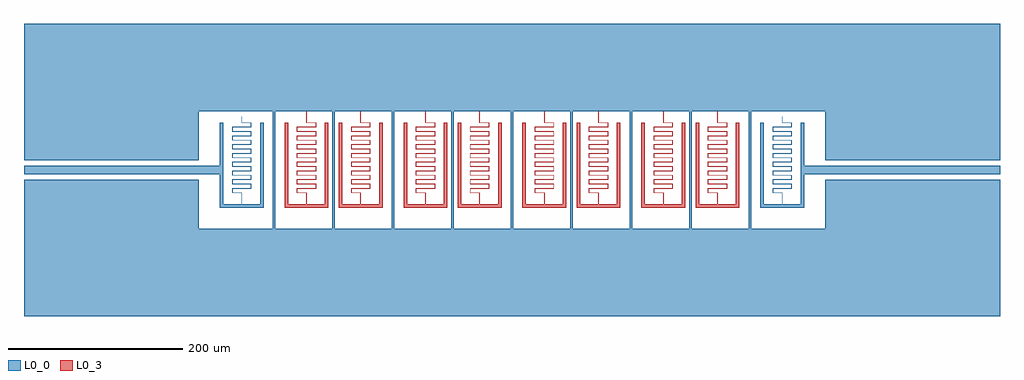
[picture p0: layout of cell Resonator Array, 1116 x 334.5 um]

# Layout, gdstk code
import gdstk
lib = gdstk.Library(unit=1e-6, precision=1e-09)
def P(c, l, *ps):  # polygons
    for p in ps: c.add(gdstk.Polygon(p, *l))
L0_0 = (0, 0)
L0_3 = (0, 3)

resonator_array = lib.new_cell('Resonator Array')
P(resonator_array, L0_0, [(793,32.25),(593,32.25),(593,-24),(508.5,-24),(508.5,110.5),(593,110.5),(593,54.25),(793,54.25),(793,210.5),(-323,210.5),(-323,54.25),(-123,54.25),(-123,110.5),(-38.5,110.5),(-38.5,-24),(-35.5,-24),(-35.5,110.5),(29.5,110.5),(29.5,-24),(32.5,-24),(32.5,110.5),(97.5,110.5),(97.5,-24),(100.5,-24),(100.5,110.5),(165.5,110.5),(165.5,-24),(168.5,-24),(168.5,110.5),(233.5,110.5),(233.5,-24),(236.5,-24),(236.5,110.5),(301.5,110.5),(301.5,-24),(304.5,-24),(304.5,110.5),(369.5,110.5),(369.5,-24),(372.5,-24),(372.5,110.5),(437.5,110.5),(437.5,-24),(440.5,-24),(440.5,110.5),(505.5,110.5),(505.5,-24),(440.5,-24),(437.5,-24),(372.5,-24),(369.5,-24),(304.5,-24),(301.5,-24),(236.5,-24),(233.5,-24),(168.5,-24),(165.5,-24),(100.5,-24),(97.5,-24),(32.5,-24),(29.5,-24),(-35.5,-24),(-38.5,-24),(-123,-24),(-123,32.25),(-323,32.25),(-323,-124),(793,-124)],
  [(-49,97.5),(-53,97.5),(-53,4),(-73.75,4),(-73.75,17.5),(-84.5,17.5),(-84.5,22),(-63,22),(-63,27.5),(-84.5,27.5),(-84.5,32),(-63,32),(-63,37.5),(-84.5,37.5),(-84.5,42),(-63,42),(-63,47.5),(-84.5,47.5),(-84.5,52),(-63,52),(-63,57.5),(-84.5,57.5),(-84.5,62),(-63,62),(-63,67.5),(-84.5,67.5),(-84.5,72),(-63,72),(-63,77.5),(-84.5,77.5),(-84.5,82),(-63,82),(-63,87.5),(-84.5,87.5),(-84.5,92),(-63,92),(-63,97.5),(-73.75,97.5),(-73.75,103.875),(-74.25,103.875),(-74.25,97),(-63.5,97),(-63.5,92.5),(-85,92.5),(-85,87),(-63.5,87),(-63.5,82.5),(-85,82.5),(-85,77),(-63.5,77),(-63.5,72.5),(-85,72.5),(-85,67),(-63.5,67),(-63.5,62.5),(-85,62.5),(-85,57),(-63.5,57),(-63.5,52.5),(-85,52.5),(-85,47),(-63.5,47),(-63.5,42.5),(-85,42.5),(-85,37),(-63.5,37),(-63.5,32.5),(-85,32.5),(-85,27),(-63.5,27),(-63.5,22.5),(-85,22.5),(-85,17),(-74.25,17),(-74.25,4),(-95,4),(-95,97.5),(-99,97.5),(-99,48.25),(-323,48.25),(-323,38.25),(-99,38.25),(-99,0),(-49,0)],
  [(569,38.25),(793,38.25),(793,48.25),(569,48.25),(569,97.5),(565,97.5),(565,4),(544.25,4),(544.25,17.5),(533.5,17.5),(533.5,22),(555,22),(555,27.5),(533.5,27.5),(533.5,32),(555,32),(555,37.5),(533.5,37.5),(533.5,42),(555,42),(555,47.5),(533.5,47.5),(533.5,52),(555,52),(555,57.5),(533.5,57.5),(533.5,62),(555,62),(555,67.5),(533.5,67.5),(533.5,72),(555,72),(555,77.5),(533.5,77.5),(533.5,82),(555,82),(555,87.5),(533.5,87.5),(533.5,92),(555,92),(555,97.5),(544.25,97.5),(544.25,103.875),(543.75,103.875),(543.75,97),(554.5,97),(554.5,92.5),(533,92.5),(533,87),(554.5,87),(554.5,82.5),(533,82.5),(533,77),(554.5,77),(554.5,72.5),(533,72.5),(533,67),(554.5,67),(554.5,62.5),(533,62.5),(533,57),(554.5,57),(554.5,52.5),(533,52.5),(533,47),(554.5,47),(554.5,42.5),(533,42.5),(533,37),(554.5,37),(554.5,32.5),(533,32.5),(533,27),(554.5,27),(554.5,22.5),(533,22.5),(533,17),(543.75,17),(543.75,4),(523,4),(523,97.5),(519,97.5),(519,0),(569,0)])
P(resonator_array, L0_3, [(-21,97.5),(-25,97.5),(-25,0),(25,0),(25,97.5),(21,97.5),(21,4),(-21,4)],
  [(-0.25,4),(0.25,4),(0.25,17.5),(-10.5,17.5),(-10.5,22),(0,22),(11,22),(11,27.5),(0,27.5),(-10.5,27.5),(-10.5,32),(0,32),(11,32),(11,37.5),(0,37.5),(-10.5,37.5),(-10.5,42),(0,42),(11,42),(11,47.5),(0,47.5),(-10.5,47.5),(-10.5,52),(0,52),(11,52),(11,57.5),(0,57.5),(-10.5,57.5),(-10.5,62),(0,62),(11,62),(11,67.5),(0,67.5),(-10.5,67.5),(-10.5,72),(0,72),(11,72),(11,77.5),(0,77.5),(-10.5,77.5),(-10.5,82),(0,82),(11,82),(11,87.5),(0,87.5),(-10.5,87.5),(-10.5,92),(0,92),(11,92),(11,97.5),(0.25,97.5),(0.25,110.5),(-0.25,110.5),(-0.25,97),(10.5,97),(10.5,92.5),(0,92.5),(-11,92.5),(-11,87),(0,87),(10.5,87),(10.5,82.5),(0,82.5),(-11,82.5),(-11,77),(0,77),(10.5,77),(10.5,72.5),(0,72.5),(-11,72.5),(-11,67),(0,67),(10.5,67),(10.5,62.5),(0,62.5),(-11,62.5),(-11,57),(0,57),(10.5,57),(10.5,52.5),(0,52.5),(-11,52.5),(-11,47),(0,47),(10.5,47),(10.5,42.5),(0,42.5),(-11,42.5),(-11,37),(0,37),(10.5,37),(10.5,32.5),(0,32.5),(-11,32.5),(-11,27),(0,27),(10.5,27),(10.5,22.5),(0,22.5),(-11,22.5),(-11,17),(-0.25,17)],
  [(41,97.5),(37,97.5),(37,0),(87,0),(87,97.5),(83,97.5),(83,4),(41,4)],
  [(61.75,4),(62.25,4),(62.25,17.5),(51.5,17.5),(51.5,22),(62,22),(73,22),(73,27.5),(62,27.5),(51.5,27.5),(51.5,32),(62,32),(73,32),(73,37.5),(62,37.5),(51.5,37.5),(51.5,42),(62,42),(73,42),(73,47.5),(62,47.5),(51.5,47.5),(51.5,52),(62,52),(73,52),(73,57.5),(62,57.5),(51.5,57.5),(51.5,62),(62,62),(73,62),(73,67.5),(62,67.5),(51.5,67.5),(51.5,72),(62,72),(73,72),(73,77.5),(62,77.5),(51.5,77.5),(51.5,82),(62,82),(73,82),(73,87.5),(62,87.5),(51.5,87.5),(51.5,92),(62,92),(73,92),(73,97.5),(62.25,97.5),(62.25,110.5),(61.75,110.5),(61.75,97),(72.5,97),(72.5,92.5),(62,92.5),(51,92.5),(51,87),(62,87),(72.5,87),(72.5,82.5),(62,82.5),(51,82.5),(51,77),(62,77),(72.5,77),(72.5,72.5),(62,72.5),(51,72.5),(51,67),(62,67),(72.5,67),(72.5,62.5),(62,62.5),(51,62.5),(51,57),(62,57),(72.5,57),(72.5,52.5),(62,52.5),(51,52.5),(51,47),(62,47),(72.5,47),(72.5,42.5),(62,42.5),(51,42.5),(51,37),(62,37),(72.5,37),(72.5,32.5),(62,32.5),(51,32.5),(51,27),(62,27),(72.5,27),(72.5,22.5),(62,22.5),(51,22.5),(51,17),(61.75,17)],
  [(115,97.5),(111,97.5),(111,0),(161,0),(161,97.5),(157,97.5),(157,4),(115,4)],
  [(135.75,4),(136.25,4),(136.25,17.5),(125.5,17.5),(125.5,22),(136,22),(147,22),(147,27.5),(136,27.5),(125.5,27.5),(125.5,32),(136,32),(147,32),(147,37.5),(136,37.5),(125.5,37.5),(125.5,42),(136,42),(147,42),(147,47.5),(136,47.5),(125.5,47.5),(125.5,52),(136,52),(147,52),(147,57.5),(136,57.5),(125.5,57.5),(125.5,62),(136,62),(147,62),(147,67.5),(136,67.5),(125.5,67.5),(125.5,72),(136,72),(147,72),(147,77.5),(136,77.5),(125.5,77.5),(125.5,82),(136,82),(147,82),(147,87.5),(136,87.5),(125.5,87.5),(125.5,92),(136,92),(147,92),(147,97.5),(136.25,97.5),(136.25,110.5),(135.75,110.5),(135.75,97),(146.5,97),(146.5,92.5),(136,92.5),(125,92.5),(125,87),(136,87),(146.5,87),(146.5,82.5),(136,82.5),(125,82.5),(125,77),(136,77),(146.5,77),(146.5,72.5),(136,72.5),(125,72.5),(125,67),(136,67),(146.5,67),(146.5,62.5),(136,62.5),(125,62.5),(125,57),(136,57),(146.5,57),(146.5,52.5),(136,52.5),(125,52.5),(125,47),(136,47),(146.5,47),(146.5,42.5),(136,42.5),(125,42.5),(125,37),(136,37),(146.5,37),(146.5,32.5),(136,32.5),(125,32.5),(125,27),(136,27),(146.5,27),(146.5,22.5),(136,22.5),(125,22.5),(125,17),(135.75,17)],
  [(177,97.5),(173,97.5),(173,0),(223,0),(223,97.5),(219,97.5),(219,4),(177,4)],
  [(197.75,4),(198.25,4),(198.25,17.5),(187.5,17.5),(187.5,22),(198,22),(209,22),(209,27.5),(198,27.5),(187.5,27.5),(187.5,32),(198,32),(209,32),(209,37.5),(198,37.5),(187.5,37.5),(187.5,42),(198,42),(209,42),(209,47.5),(198,47.5),(187.5,47.5),(187.5,52),(198,52),(209,52),(209,57.5),(198,57.5),(187.5,57.5),(187.5,62),(198,62),(209,62),(209,67.5),(198,67.5),(187.5,67.5),(187.5,72),(198,72),(209,72),(209,77.5),(198,77.5),(187.5,77.5),(187.5,82),(198,82),(209,82),(209,87.5),(198,87.5),(187.5,87.5),(187.5,92),(198,92),(209,92),(209,97.5),(198.25,97.5),(198.25,110.5),(197.75,110.5),(197.75,97),(208.5,97),(208.5,92.5),(198,92.5),(187,92.5),(187,87),(198,87),(208.5,87),(208.5,82.5),(198,82.5),(187,82.5),(187,77),(198,77),(208.5,77),(208.5,72.5),(198,72.5),(187,72.5),(187,67),(198,67),(208.5,67),(208.5,62.5),(198,62.5),(187,62.5),(187,57),(198,57),(208.5,57),(208.5,52.5),(198,52.5),(187,52.5),(187,47),(198,47),(208.5,47),(208.5,42.5),(198,42.5),(187,42.5),(187,37),(198,37),(208.5,37),(208.5,32.5),(198,32.5),(187,32.5),(187,27),(198,27),(208.5,27),(208.5,22.5),(198,22.5),(187,22.5),(187,17),(197.75,17)],
  [(251,97.5),(247,97.5),(247,0),(297,0),(297,97.5),(293,97.5),(293,4),(251,4)],
  [(271.75,4),(272.25,4),(272.25,17.5),(261.5,17.5),(261.5,22),(272,22),(283,22),(283,27.5),(272,27.5),(261.5,27.5),(261.5,32),(272,32),(283,32),(283,37.5),(272,37.5),(261.5,37.5),(261.5,42),(272,42),(283,42),(283,47.5),(272,47.5),(261.5,47.5),(261.5,52),(272,52),(283,52),(283,57.5),(272,57.5),(261.5,57.5),(261.5,62),(272,62),(283,62),(283,67.5),(272,67.5),(261.5,67.5),(261.5,72),(272,72),(283,72),(283,77.5),(272,77.5),(261.5,77.5),(261.5,82),(272,82),(283,82),(283,87.5),(272,87.5),(261.5,87.5),(261.5,92),(272,92),(283,92),(283,97.5),(272.25,97.5),(272.25,110.5),(271.75,110.5),(271.75,97),(282.5,97),(282.5,92.5),(272,92.5),(261,92.5),(261,87),(272,87),(282.5,87),(282.5,82.5),(272,82.5),(261,82.5),(261,77),(272,77),(282.5,77),(282.5,72.5),(272,72.5),(261,72.5),(261,67),(272,67),(282.5,67),(282.5,62.5),(272,62.5),(261,62.5),(261,57),(272,57),(282.5,57),(282.5,52.5),(272,52.5),(261,52.5),(261,47),(272,47),(282.5,47),(282.5,42.5),(272,42.5),(261,42.5),(261,37),(272,37),(282.5,37),(282.5,32.5),(272,32.5),(261,32.5),(261,27),(272,27),(282.5,27),(282.5,22.5),(272,22.5),(261,22.5),(261,17),(271.75,17)],
  [(313,97.5),(309,97.5),(309,0),(359,0),(359,97.5),(355,97.5),(355,4),(313,4)],
  [(333.75,4),(334.25,4),(334.25,17.5),(323.5,17.5),(323.5,22),(334,22),(345,22),(345,27.5),(334,27.5),(323.5,27.5),(323.5,32),(334,32),(345,32),(345,37.5),(334,37.5),(323.5,37.5),(323.5,42),(334,42),(345,42),(345,47.5),(334,47.5),(323.5,47.5),(323.5,52),(334,52),(345,52),(345,57.5),(334,57.5),(323.5,57.5),(323.5,62),(334,62),(345,62),(345,67.5),(334,67.5),(323.5,67.5),(323.5,72),(334,72),(345,72),(345,77.5),(334,77.5),(323.5,77.5),(323.5,82),(334,82),(345,82),(345,87.5),(334,87.5),(323.5,87.5),(323.5,92),(334,92),(345,92),(345,97.5),(334.25,97.5),(334.25,110.5),(333.75,110.5),(333.75,97),(344.5,97),(344.5,92.5),(334,92.5),(323,92.5),(323,87),(334,87),(344.5,87),(344.5,82.5),(334,82.5),(323,82.5),(323,77),(334,77),(344.5,77),(344.5,72.5),(334,72.5),(323,72.5),(323,67),(334,67),(344.5,67),(344.5,62.5),(334,62.5),(323,62.5),(323,57),(334,57),(344.5,57),(344.5,52.5),(334,52.5),(323,52.5),(323,47),(334,47),(344.5,47),(344.5,42.5),(334,42.5),(323,42.5),(323,37),(334,37),(344.5,37),(344.5,32.5),(334,32.5),(323,32.5),(323,27),(334,27),(344.5,27),(344.5,22.5),(334,22.5),(323,22.5),(323,17),(333.75,17)],
  [(387,97.5),(383,97.5),(383,0),(433,0),(433,97.5),(429,97.5),(429,4),(387,4)],
  [(407.75,4),(408.25,4),(408.25,17.5),(397.5,17.5),(397.5,22),(408,22),(419,22),(419,27.5),(408,27.5),(397.5,27.5),(397.5,32),(408,32),(419,32),(419,37.5),(408,37.5),(397.5,37.5),(397.5,42),(408,42),(419,42),(419,47.5),(408,47.5),(397.5,47.5),(397.5,52),(408,52),(419,52),(419,57.5),(408,57.5),(397.5,57.5),(397.5,62),(408,62),(419,62),(419,67.5),(408,67.5),(397.5,67.5),(397.5,72),(408,72),(419,72),(419,77.5),(408,77.5),(397.5,77.5),(397.5,82),(408,82),(419,82),(419,87.5),(408,87.5),(397.5,87.5),(397.5,92),(408,92),(419,92),(419,97.5),(408.25,97.5),(408.25,110.5),(407.75,110.5),(407.75,97),(418.5,97),(418.5,92.5),(408,92.5),(397,92.5),(397,87),(408,87),(418.5,87),(418.5,82.5),(408,82.5),(397,82.5),(397,77),(408,77),(418.5,77),(418.5,72.5),(408,72.5),(397,72.5),(397,67),(408,67),(418.5,67),(418.5,62.5),(408,62.5),(397,62.5),(397,57),(408,57),(418.5,57),(418.5,52.5),(408,52.5),(397,52.5),(397,47),(408,47),(418.5,47),(418.5,42.5),(408,42.5),(397,42.5),(397,37),(408,37),(418.5,37),(418.5,32.5),(408,32.5),(397,32.5),(397,27),(408,27),(418.5,27),(418.5,22.5),(408,22.5),(397,22.5),(397,17),(407.75,17)],
  [(449,97.5),(445,97.5),(445,0),(495,0),(495,97.5),(491,97.5),(491,4),(449,4)],
  [(469.75,4),(470.25,4),(470.25,17.5),(459.5,17.5),(459.5,22),(470,22),(481,22),(481,27.5),(470,27.5),(459.5,27.5),(459.5,32),(470,32),(481,32),(481,37.5),(470,37.5),(459.5,37.5),(459.5,42),(470,42),(481,42),(481,47.5),(470,47.5),(459.5,47.5),(459.5,52),(470,52),(481,52),(481,57.5),(470,57.5),(459.5,57.5),(459.5,62),(470,62),(481,62),(481,67.5),(470,67.5),(459.5,67.5),(459.5,72),(470,72),(481,72),(481,77.5),(470,77.5),(459.5,77.5),(459.5,82),(470,82),(481,82),(481,87.5),(470,87.5),(459.5,87.5),(459.5,92),(470,92),(481,92),(481,97.5),(470.25,97.5),(470.25,110.5),(469.75,110.5),(469.75,97),(480.5,97),(480.5,92.5),(470,92.5),(459,92.5),(459,87),(470,87),(480.5,87),(480.5,82.5),(470,82.5),(459,82.5),(459,77),(470,77),(480.5,77),(480.5,72.5),(470,72.5),(459,72.5),(459,67),(470,67),(480.5,67),(480.5,62.5),(470,62.5),(459,62.5),(459,57),(470,57),(480.5,57),(480.5,52.5),(470,52.5),(459,52.5),(459,47),(470,47),(480.5,47),(480.5,42.5),(470,42.5),(459,42.5),(459,37),(470,37),(480.5,37),(480.5,32.5),(470,32.5),(459,32.5),(459,27),(470,27),(480.5,27),(480.5,22.5),(470,22.5),(459,22.5),(459,17),(469.75,17)])

lib.write_gds('Resonator_Array.gds')
